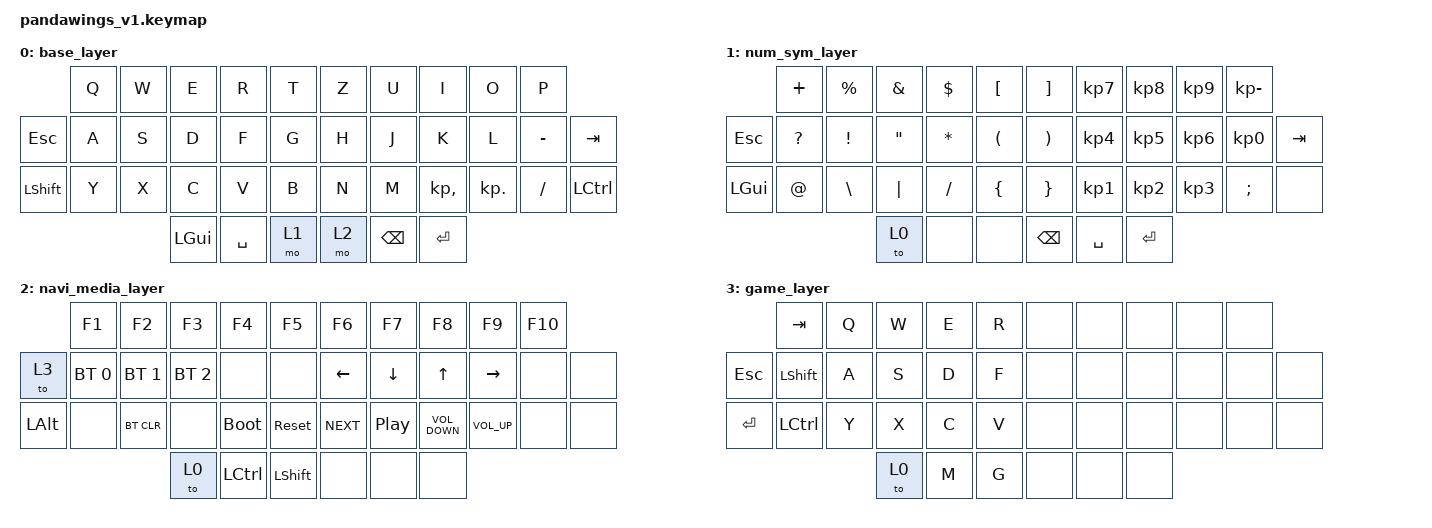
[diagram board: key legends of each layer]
#include <behaviors.dtsi>
#include <dt-bindings/zmk/bt.h>
#include <dt-bindings/zmk/keys.h>
#include "keys_de.h"

/ {
    keymap {
        compatible = "zmk,keymap";

        base_layer {
            //        | SW2  | SW3  | SW4  | SW5  | SW6  |  | SW27 | SW26 | SW25 | SW24 | SW23 | 
            // | SW7  | SW8  | SW9  | SW10 | SW11 | SW12 |  | SW33 | SW32 | SW31 | SW30 | SW29 | SW34 |
            // | SW13 | SW14 | SW15 | SW16 | SW17 | SW18 |  | SW39 | SW38 | SW37 | SW36 | SW35 | SW28 |
            //                      | SW19 | SW20 | SW21 |  | SW42 | SW41 | SW40 |
            //       |  Q  |  W  |  E  |  R  |  T  |  |  Z  |  U  |  I  |  O  |  P  | 
            // | ESC |  A  |  S  |  D  |  F  |  G  |  |  H  |  J  |  K  |  L  | NON | TAB |
            // | SFT |  Y  |  X  |  C  |  V  |  B  |  |  N  |  M  |  ,  |  .  |  -  | CTRL|
            //                   | HOME| LWR | SPA |  | BCS | RSE | END |

            bindings = <
                &kp Q  &kp W  &kp E         &kp R      &kp T  &kp Z  &kp U          &kp I         &kp O       &kp P
&kp ESC         &kp A  &kp S  &kp D         &kp F      &kp G  &kp H  &kp J          &kp K         &kp L       &kp MINUS  &kp TAB
&kp LEFT_SHIFT  &kp Y  &kp X  &kp C         &kp V      &kp B  &kp N  &kp M          &kp KP_COMMA  &kp KP_DOT  &kp SLASH  &kp LEFT_CONTROL
                              &kp LEFT_GUI  &kp SPACE  &mo 1  &mo 2  &kp BACKSPACE  &kp RETURN
            >;
        };

        num_sym_layer {
            bindings = <
              &kp PLUS      &kp PERCENT      &kp AMPERSAND      &kp DOLLAR    &kp LEFT_BRACKET      &kp RIGHT_BRACKET      &kp KP_N7  &kp KP_N8  &kp KP_N9  &kp KP_MINUS
&kp ESCAPE    &kp QUESTION  &kp EXCLAMATION  &kp DOUBLE_QUOTES  &kp ASTERISK  &kp LEFT_PARENTHESIS  &kp RIGHT_PARENTHESIS  &kp KP_N4  &kp KP_N5  &kp KP_N6  &kp KP_N0      &kp TAB
&kp LEFT_GUI  &kp AT_SIGN   &kp BACKSLASH    &kp PIPE           &kp SLASH     &kp LEFT_BRACE        &kp RIGHT_BRACE        &kp KP_N1  &kp KP_N2  &kp KP_N3  &kp SEMICOLON  &none
                                             &to 0              &none         &none                 &kp BACKSPACE          &kp SPACE  &kp RET
            >;
        };

        navi_media_layer {
            bindings = <
              &kp F1        &kp F2        &kp F3        &kp F4            &kp F5          &kp F6          &kp F7            &kp F8             &kp F9           &kp F10
&to 3         &bt BT_SEL 0  &bt BT_SEL 1  &bt BT_SEL 2  &none             &none           &kp LEFT_ARROW  &kp DOWN          &kp UP_ARROW       &kp RIGHT        &none    &none
&kp LEFT_ALT  &none         &bt BT_CLR    &none         &bootloader       &sys_reset      &kp C_NEXT      &kp C_PLAY_PAUSE  &kp C_VOLUME_DOWN  &kp C_VOLUME_UP  &none    &none
                                          &to 0         &kp LEFT_CONTROL  &kp LEFT_SHIFT  &none           &none             &none
            >;
        };

        game_layer {
            bindings = <
         &kp TAB    &kp Q  &kp W  &kp E  &kp R  &none  &none  &none  &none  &none
&kp ESC  &kp LSHFT  &kp A  &kp S  &kp D  &kp F  &none  &none  &none  &none  &none  &none
&kp RET  &kp LCTRL  &kp Y  &kp X  &kp C  &kp V  &none  &none  &none  &none  &none  &none
                           &to 0  &kp M  &kp G  &none  &none  &none
            >;
        };
    };
};

